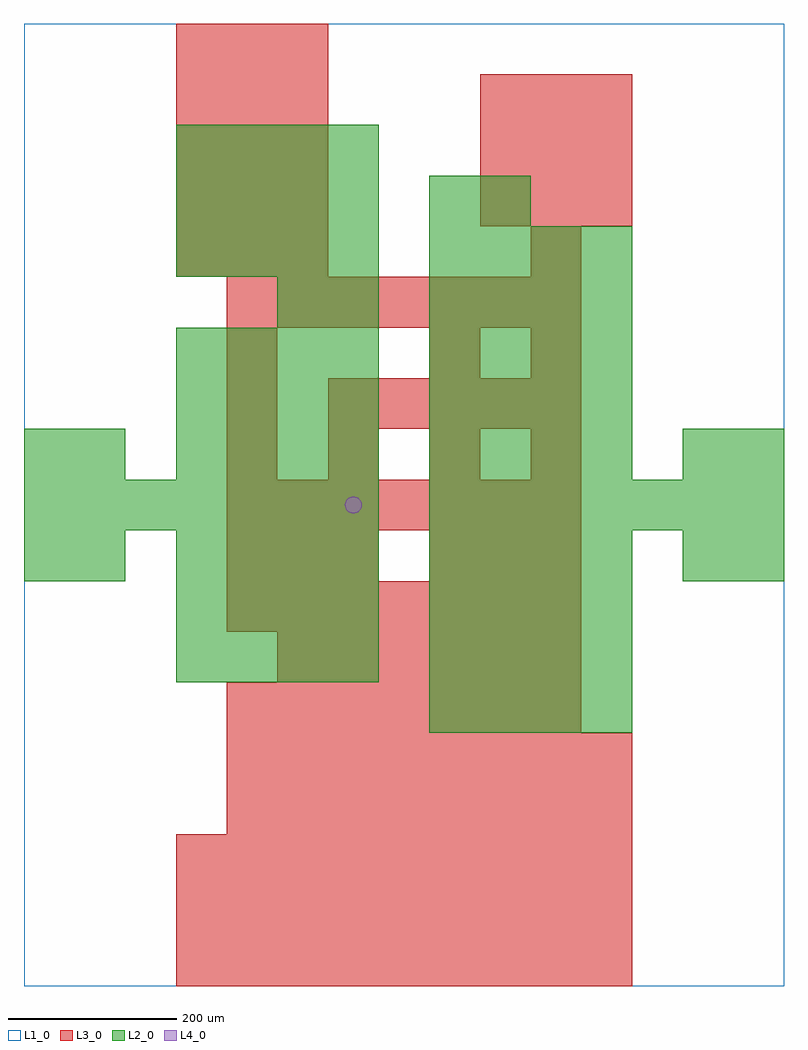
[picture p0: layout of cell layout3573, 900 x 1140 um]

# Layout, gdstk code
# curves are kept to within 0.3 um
import gdstk
lib = gdstk.Library(unit=1e-6, precision=1e-09)
def R(c, l, rs):  # rectangles x0, y0, x1, y1
    for r in rs: c.add(gdstk.rectangle(r[:2], r[2:], *l))
def A(c, l, x, y, w, h, nx, ny, dx, dy):  # array of equal rectangles
    R(c, l, [(x+i*dx, y+j*dy, x+i*dx+w, y+j*dy+h) for i in range(nx) for j in range(ny)])
def P(c, l, *ps):  # polygons
    for p in ps: c.add(gdstk.Polygon(p, *l))
L1_0 = (1, 0)
L2_0 = (2, 0)
L3_0 = (3, 0)
L4_0 = (4, 0)

layout3573 = lib.new_cell('layout3573')
R(layout3573, L1_0, [(0,0,900,1140)])
A(layout3573, L2_0, 480, 300, 60, 60, 4, 4, 60, 60)
A(layout3573, L2_0, 180, 360, 60, 60, 4, 3, 60, 60)
A(layout3573, L2_0, 0, 540, 60, 60, 7, 1, 60, 0)
A(layout3573, L2_0, 480, 540, 60, 60, 7, 1, 60, 0)
A(layout3573, L2_0, 180, 600, 60, 60, 4, 3, 60, 60)
A(layout3573, L2_0, 480, 600, 60, 60, 4, 5, 60, 60)
A(layout3573, L2_0, 180, 840, 60, 60, 4, 3, 60, 60)
R(layout3573, L2_0, [(0,480,60,540), (60,480,120,540), (780,480,840,540), (840,480,900,540), (0,600,60,660), (60,600,120,660), (780,600,840,660), (840,600,900,660), (300,780,360,840), (360,780,420,840), (480,900,540,960), (540,900,600,960)])
A(layout3573, L3_0, 180, 0, 60, 60, 9, 3, 60, 60)
A(layout3573, L3_0, 240, 180, 60, 60, 8, 2, 60, 60)
A(layout3573, L3_0, 240, 300, 60, 60, 7, 3, 60, 120)
A(layout3573, L3_0, 300, 360, 60, 60, 6, 1, 60, 0)
A(layout3573, L3_0, 240, 480, 60, 60, 3, 1, 60, 0)
A(layout3573, L3_0, 480, 480, 60, 60, 3, 1, 60, 0)
A(layout3573, L3_0, 240, 600, 60, 60, 4, 1, 120, 0)
A(layout3573, L3_0, 360, 660, 60, 60, 5, 1, 60, 0)
A(layout3573, L3_0, 240, 780, 60, 60, 7, 1, 60, 0)
A(layout3573, L3_0, 180, 840, 60, 60, 3, 5, 60, 60)
A(layout3573, L3_0, 540, 900, 60, 60, 3, 3, 60, 60)
R(layout3573, L3_0, [(240,660,300,720), (240,720,300,780), (480,720,540,780), (600,720,660,780), (600,840,660,900)])
P(layout3573, L4_0, [(400,570),(399.239,573.827),(397.071,577.071),(393.827,579.239),(390,580),(386.173,579.239),(382.929,577.071),(380.761,573.827),(380,570),(380.761,566.173),(382.929,562.929),(386.173,560.761),(390,560),(393.827,560.761),(397.071,562.929),(399.239,566.173)])

lib.write_gds('layout3573.gds')
